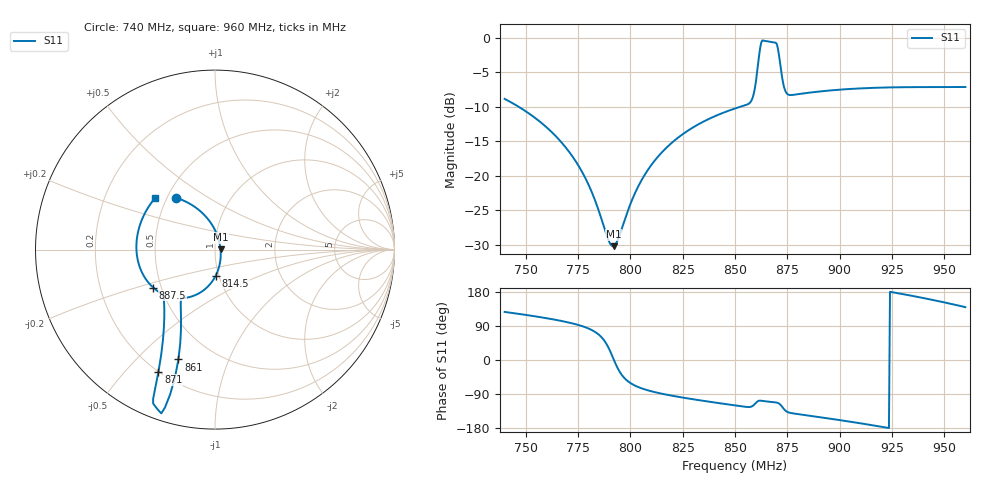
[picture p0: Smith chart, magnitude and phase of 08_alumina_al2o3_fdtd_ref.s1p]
! ISAC_868 Rev E.5 3D-FDTD Reference S11 at /BR_Q (8_Alumina_on_0p80mm_Window (eps*=9.8-j0.002))
! Reference plane: /BR_Q (includes C_M1=3.6p, L_M1=8.2n||C_MZ=0.5p, C_M2=4.3p elliptic Pi-filter)
! Unloaded AE1 f0 = 783.0 MHz | Standalone |S11(866.5)| = -0.36 dB | Cascaded |S11(866.5)| = -0.53 dB
# GHz S RI R 50.0
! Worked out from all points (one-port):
!   442 points, 740 MHz to 960 MHz, reference 50 ohm
!   lowest |S11| = -30.2 dB at 792 MHz (marker M1), VSWR 1.06, Z = 53.2 + j0.147 ohm
!   |S11| at or under -10 dB: 746.8 MHz to 852.5 MHz (105.7 MHz wide, 13.2 % of centre)
!   S11 on the Smith chart (normalised r, x): 740 MHz: 0.56, +0.37; 814.5 MHz: 0.97, -0.29; 861 MHz: 0.32, -0.67; 871 MHz: 0.20, -0.62; 887.5 MHz: 0.45, -0.23; 960 MHz: 0.43, +0.31
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0.74  -0.2172 0.2887
0.755  -0.1092 0.2356
0.7675  -0.0376 0.1679
0.7785  0.00587 0.0962
0.783  0.0177 0.0649
0.7895  0.0285 0.019
0.792  0.0307 0.00138
0.795  0.0319 -0.0196
0.804  0.0264 -0.0805
0.8145  0.00426 -0.1445
0.8225  -0.0221 -0.186
0.85  -0.1528 -0.2669
0.858  -0.191 -0.2991
0.8595  -0.1893 -0.3892
0.861  -0.2038 -0.6117
0.8625  -0.2786 -0.8795
0.8635  -0.3034 -0.908
0.869  -0.3418 -0.8609
0.87  -0.3446 -0.8313
0.871  -0.3152 -0.6813
0.8725  -0.2845 -0.431
0.8735  -0.2823 -0.3317
0.875  -0.287 -0.2671
0.8775  -0.2985 -0.2445
0.8875  -0.3448 -0.2112
0.905  -0.4075 -0.1259
0.9325  -0.4346 0.0654
0.96  -0.3348 0.2864
